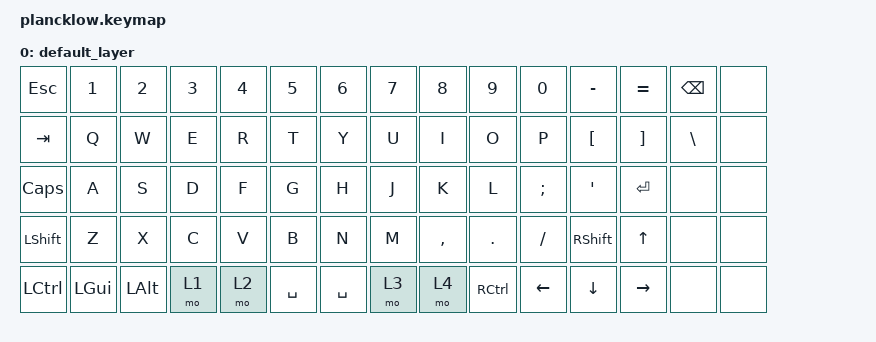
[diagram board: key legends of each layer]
/*
 * Copyright (c) 2021 The ZMK Contributors
 *
 * SPDX-License-Identifier: MIT
 */

#include <dt-bindings/zmk/keys.h>
#include <dt-bindings/zmk/bt.h>
#include <dt-bindings/zmk/outputs.h>


/ {
    keymap {
        compatible = "zmk,keymap";
        default_layer {
            // This is a 65% ANSI keymap for a 5x15 matrix.
            // The bindings are padded with &none to match the matrix size.

            bindings = <
                // Row 0 (15 keys)
                &kp ESC    &kp N1    &kp N2    &kp N3    &kp N4    &kp N5    &kp N6    &kp N7    &kp N8    &kp N9    &kp N0    &kp MINUS &kp EQUAL &kp BACKSPACE &none
                // Row 1 (15 keys)
                &kp TAB    &kp Q     &kp W     &kp E     &kp R     &kp T     &kp Y     &kp U     &kp I     &kp O     &kp P     &kp LBKT  &kp RBKT  &kp BSLH      &none
                // Row 2 (15 keys)
                &kp CAPS   &kp A     &kp S     &kp D     &kp F     &kp G     &kp H     &kp J     &kp K     &kp L     &kp SEMI  &kp SQT   &kp ENTER &none         &none
                // Row 3 (15 keys)
                &kp LSHIFT &kp Z     &kp X     &kp C     &kp V     &kp B     &kp N     &kp M     &kp COMMA &kp DOT   &kp FSLH  &kp RSHIFT &kp UP   &none         &none
                // Row 4 (15 keys)
                &kp LCTRL  &kp LGUI  &kp LALT  &mo 1     &mo 2     &kp SPACE &kp SPACE &mo 3     &mo 4     &kp RCTRL &kp LEFT  &kp DOWN  &kp RIGHT &none         &none
            >;
        };
    };
};
